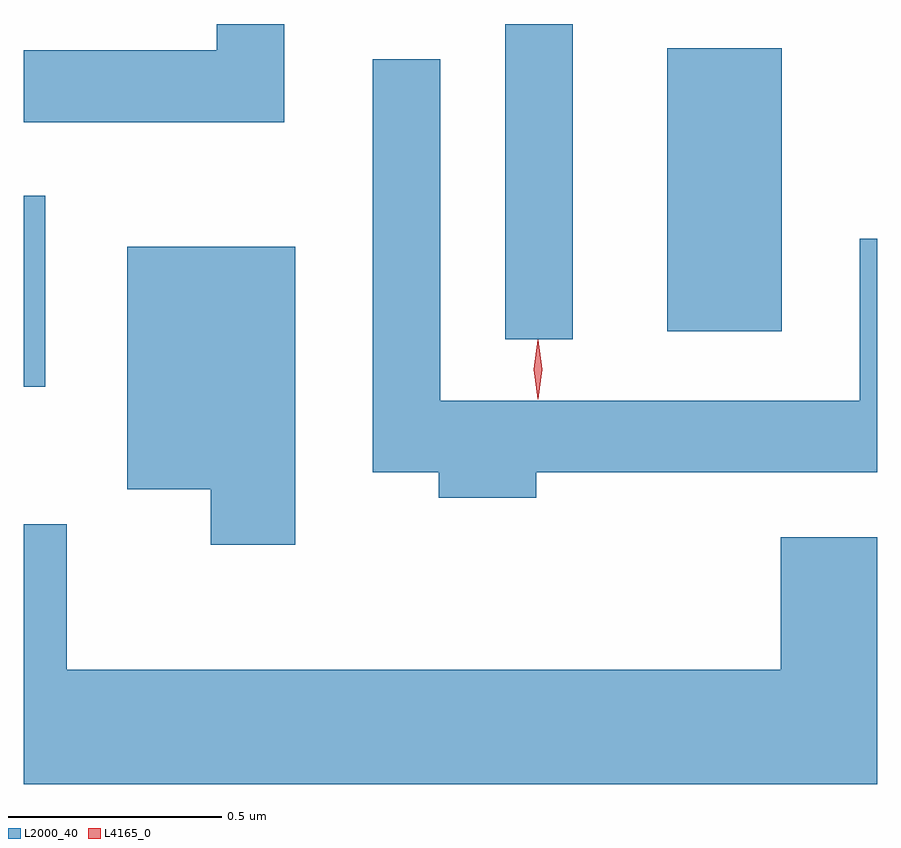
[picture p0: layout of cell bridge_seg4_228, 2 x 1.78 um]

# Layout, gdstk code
import gdstk
lib = gdstk.Library(unit=1e-6, precision=1e-09)
def R(c, l, rs):  # rectangles x0, y0, x1, y1
    for r in rs: c.add(gdstk.rectangle(r[:2], r[2:], *l))
def P(c, l, *ps):  # polygons
    for p in ps: c.add(gdstk.Polygon(p, *l))
L2000_40 = (2000, 40)
L4165_0 = (4165, 0)

bridge_seg4_228 = lib.new_cell('bridge_seg4_228')
R(bridge_seg4_228, L2000_40, [(1051.428,1304.546,1051.479,1304.994), (1052.556,1304.658,1052.714,1305.396), (1052.936,1304.676,1053.204,1305.339)])
P(bridge_seg4_228, L2000_40, [(1052.039,1305.396),(1051.881,1305.396),(1051.881,1305.334),(1051.428,1305.334),(1051.428,1305.166),(1052.039,1305.166)],
  [(1052.629,1304.346),(1053.428,1304.346),(1053.428,1304.893),(1053.386,1304.893),(1053.386,1304.514),(1052.404,1304.514),(1052.404,1305.313),(1052.246,1305.313),(1052.246,1304.346),(1052.401,1304.346),(1052.401,1304.286),(1052.629,1304.286)],
  [(1052.064,1304.874),(1051.671,1304.874),(1051.671,1304.306),(1051.866,1304.306),(1051.866,1304.176),(1052.064,1304.176)],
  [(1053.428,1304.194),(1053.201,1304.194),(1053.201,1303.884),(1051.529,1303.884),(1051.529,1304.224),(1051.428,1304.224),(1051.428,1303.616),(1053.428,1303.616)])
P(bridge_seg4_228, L4165_0, [(1052.632,1304.52),(1052.623,1304.586),(1052.632,1304.653),(1052.633,1304.653),(1052.633,1304.653),(1052.643,1304.586),(1052.633,1304.52),(1052.633,1304.52)],
  [(1052.632,1304.517),(1052.623,1304.587),(1052.632,1304.656),(1052.633,1304.656),(1052.633,1304.656),(1052.643,1304.587),(1052.633,1304.517),(1052.633,1304.517)])

lib.write_gds('bridge_seg4_228.gds')
